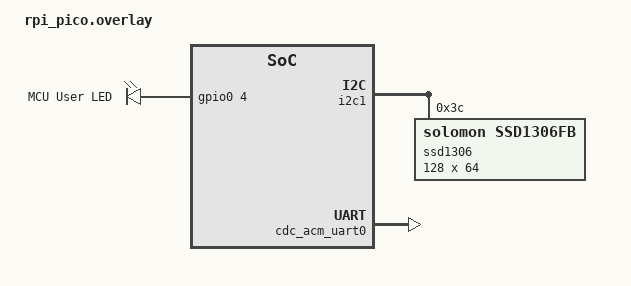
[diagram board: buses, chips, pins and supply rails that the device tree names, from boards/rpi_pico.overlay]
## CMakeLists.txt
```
cmake_minimum_required(VERSION 3.20.0)
find_package(Zephyr REQUIRED HINTS $ENV{ZEPHYR_BASE})
project(shrike_monitor)

target_sources(app PRIVATE
  src/main.c
  src/watchdog.c
  src/sysinfo.c
  src/command.c
  src/logger.c
)
```

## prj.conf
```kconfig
CONFIG_USB_DEVICE_STACK=y
CONFIG_SERIAL=y
CONFIG_CONSOLE=y
CONFIG_UART_CONSOLE=y
CONFIG_UART_LINE_CTRL=y
CONFIG_USB_CDC_ACM=y
CONFIG_USB_DEVICE_PRODUCT="ShrikeOS Monitor"
CONFIG_USB_DEVICE_VID=0x2E8A
CONFIG_USB_DEVICE_PID=0x000A

CONFIG_DISPLAY=y
CONFIG_CHARACTER_FRAMEBUFFER=y
CONFIG_I2C=y

CONFIG_ADC=y

CONFIG_GPIO=y

CONFIG_HEAP_MEM_POOL_SIZE=16384
CONFIG_MAIN_STACK_SIZE=4096

CONFIG_LOG=y
CONFIG_LOG_DEFAULT_LEVEL=3
CONFIG_STDOUT_CONSOLE=y
CONFIG_PRINTK=y
```

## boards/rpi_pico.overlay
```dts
/*
 * ShrikeOS Monitor – Device Tree Overlay for Shrike-lite (rpi_pico base)
 *
 * - LED on GPIO 4 (GPIO for reliable blinking)
 * - SSD1306 OLED on I2C1 (GP6=SDA, GP7=SCL)
 * - USB CDC ACM serial console
 */

/ {
	chosen {
		zephyr,display = &ssd1306;
		zephyr,console = &cdc_acm_uart0;
		zephyr,shell-uart = &cdc_acm_uart0;
	};
};

/* Override the default LED from GPIO 25 to GPIO 4 (Shrike-lite) */
&led0 {
	gpios = <&gpio0 4 GPIO_ACTIVE_HIGH>;
	label = "MCU User LED";
};

&i2c1 {
	status = "okay";

	ssd1306: ssd1306@3c {
		compatible = "solomon,ssd1306fb";
		reg = <0x3c>;
		width = <128>;
		height = <64>;
		segment-offset = <0>;
		page-offset = <0>;
		display-offset = <0>;
		multiplex-ratio = <63>;
		segment-remap;
		com-invdir;
		prechargep = <0x22>;
	};
};

&zephyr_udc0 {
	cdc_acm_uart0: cdc_acm_uart0 {
		compatible = "zephyr,cdc-acm-uart";
	};
};
```

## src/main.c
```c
#include <zephyr/kernel.h>
#include <zephyr/device.h>
#include <zephyr/drivers/gpio.h>
#include <zephyr/drivers/adc.h>
#include <zephyr/display/cfb.h>
#include <zephyr/drivers/uart.h>
#include <zephyr/usb/usb_device.h>
#include <zephyr/sys/util.h>
#include <stdio.h>
#include <string.h>
#include <stdlib.h>


static const struct gpio_dt_spec led = GPIO_DT_SPEC_GET(DT_ALIAS(led0), gpios);

static const struct device *adc_dev;
static const struct adc_channel_cfg temp_ch_cfg = {
	.gain = ADC_GAIN_1,
	.reference = ADC_REF_INTERNAL,
	.acquisition_time = ADC_ACQ_TIME_DEFAULT,
	.channel_id = 4,
};

static const struct device *display_dev;

static const struct device *cdc_dev;


struct monitor_state {
	float temperature;
	uint32_t uptime_secs;
	uint8_t thread_count;
	bool led_on;
	uint16_t blink_ms;
	char custom_msg[32];
};

static struct monitor_state state = {
	.temperature = 0.0f,
	.uptime_secs = 0,
	.thread_count = 4,
	.led_on = true,
	.blink_ms = 250,
	.custom_msg = "",
};

K_MUTEX_DEFINE(state_mutex);


static int16_t adc_buf;
static struct adc_sequence adc_seq = {
	.buffer = &adc_buf,
	.buffer_size = sizeof(adc_buf),
	.resolution = 12,
	.channels = BIT(4),
};

static float read_internal_temp(void)
{
	if (!adc_dev || !device_is_ready(adc_dev)) {
		return -99.0f;
	}

	int ret = adc_read(adc_dev, &adc_seq);
	if (ret < 0) {
		return -99.0f;
	}

	/* RP2040 datasheet temp conversion:
	 * T = 27 - (V_adc - 0.706) / 0.001721
	 * V_adc = raw * 3.3 / 4096
	 */
	float voltage = (float)adc_buf * 3.3f / 4096.0f;
	float temp = 27.0f - (voltage - 0.706f) / 0.001721f;
	return temp;
}

static void init_adc(void)
{
	adc_dev = DEVICE_DT_GET(DT_NODELABEL(adc));
	if (device_is_ready(adc_dev)) {
		adc_channel_setup(adc_dev, &temp_ch_cfg);
		printk("ADC initialized (ch4 = internal temp)\n");
	} else {
		printk("ADC not ready!\n");
	}
}


static void sensor_thread_fn(void *p1, void *p2, void *p3)
{
	ARG_UNUSED(p1); ARG_UNUSED(p2); ARG_UNUSED(p3);

	init_adc();

	while (1) {
		float temp = read_internal_temp();

		k_mutex_lock(&state_mutex, K_FOREVER);
		state.temperature = temp;
		state.uptime_secs = k_uptime_get_32() / 1000;
		k_mutex_unlock(&state_mutex);

		k_msleep(1000);
	}
}

K_THREAD_DEFINE(sensor_tid, 1024, sensor_thread_fn, NULL, NULL, NULL, 5, 0, 0);


static void display_thread_fn(void *p1, void *p2, void *p3)
{
	ARG_UNUSED(p1); ARG_UNUSED(p2); ARG_UNUSED(p3);

	display_dev = DEVICE_DT_GET(DT_CHOSEN(zephyr_display));
	if (!device_is_ready(display_dev)) {
		printk("Display not ready\n");
		return;
	}

	if (display_set_pixel_format(display_dev, PIXEL_FORMAT_MONO10) != 0) {
		display_set_pixel_format(display_dev, PIXEL_FORMAT_MONO01);
	}

	if (cfb_framebuffer_init(display_dev)) {
		printk("CFB init failed\n");
		return;
	}

	cfb_framebuffer_clear(display_dev, true);
	display_blanking_off(display_dev);

	uint8_t font_w, font_h;
	int best_font = 0;
	for (int i = 0; i < 42; i++) {
		if (cfb_get_font_size(display_dev, i, &font_w, &font_h)) {
			break;
		}
		best_font = i;
		if (font_h <= 16) {
			break;
		}
	}
	cfb_framebuffer_set_font(display_dev, best_font);
	cfb_set_kerning(display_dev, 1);

	char line_buf[32];

	while (1) {
		k_mutex_lock(&state_mutex, K_FOREVER);
		bool led_st = state.led_on;
		uint16_t blink = state.blink_ms;
		char msg[32];
		strncpy(msg, state.custom_msg, sizeof(msg) - 1);
		msg[sizeof(msg) - 1] = '\0';
		k_mutex_unlock(&state_mutex);

		cfb_framebuffer_clear(display_dev, false);

		cfb_print(display_dev, "     SHRIKE", 0, 0);

		snprintf(line_buf, sizeof(line_buf), "LED: %s",
			 led_st ? "ON" : "OFF");
		cfb_print(display_dev, line_buf, 0, 16);

		if (msg[0] != '\0') {
			cfb_print(display_dev, msg, 0, 32);
		} else {
			cfb_print(display_dev, "> Ready", 0, 32);
		}

		cfb_framebuffer_finalize(display_dev);
		k_msleep(500);
	}
}

K_THREAD_DEFINE(display_tid, 2048, display_thread_fn, NULL, NULL, NULL, 6, 0, 0);


static void heartbeat_thread_fn(void *p1, void *p2, void *p3)
{
	ARG_UNUSED(p1); ARG_UNUSED(p2); ARG_UNUSED(p3);

	if (!gpio_is_ready_dt(&led)) {
		printk("LED GPIO not ready\n");
		return;
	}

	gpio_pin_configure_dt(&led, GPIO_OUTPUT_ACTIVE);
	printk("LED GPIO configured on pin %d\n", led.pin);

	while (1) {
		uint16_t blink;
		bool on;

		k_mutex_lock(&state_mutex, K_FOREVER);
		blink = state.blink_ms;
		on = state.led_on;
		k_mutex_unlock(&state_mutex);

		if (on) {
			gpio_pin_toggle_dt(&led);
		} else {
			gpio_pin_set_dt(&led, 0);
		}

		k_msleep(blink);
	}
}

K_THREAD_DEFINE(heartbeat_tid, 512, heartbeat_thread_fn, NULL, NULL, NULL, 7, 0, 0);


static void send_telemetry(const struct device *dev)
{
	char buf[128];

	k_mutex_lock(&state_mutex, K_FOREVER);
	int len = snprintf(buf, sizeof(buf),
		"{\"temp\":%.1f,\"up\":%u,\"thds\":%u,\"led\":%u,\"blink\":%u}\n",
		(double)state.temperature,
		state.uptime_secs,
		state.thread_count,
		state.led_on ? 1 : 0,
		state.blink_ms);
	k_mutex_unlock(&state_mutex);

	for (int i = 0; i < len; i++) {
		uart_poll_out(dev, buf[i]);
	}
}

static void parse_command(const char *json)
{
	const char *cmd_pos = strstr(json, "\"cmd\":\"");
	if (!cmd_pos) return;
	cmd_pos += 7;

	const char *val_pos = strstr(json, "\"val\":");
	int val = 0;
	if (val_pos) {
		val_pos += 6;
		val = atoi(val_pos);
	}

	k_mutex_lock(&state_mutex, K_FOREVER);

	if (strncmp(cmd_pos, "led", 3) == 0) {
		state.led_on = (val != 0);
	} else if (strncmp(cmd_pos, "blink", 5) == 0) {
		if (val >= 50 && val <= 2000) {
			state.blink_ms = (uint16_t)val;
		}
	} else if (strncmp(cmd_pos, "oled_msg", 8) == 0) {
		const char *str_val = strstr(json, "\"val\":\"");
		if (str_val) {
			str_val += 7;
			const char *end = strchr(str_val, '"');
			if (end) {
				size_t slen = MIN((size_t)(end - str_val),
						  sizeof(state.custom_msg) - 1);
				memcpy(state.custom_msg, str_val, slen);
				state.custom_msg[slen] = '\0';
			}
		}
	}

	k_mutex_unlock(&state_mutex);
}

static void serial_thread_fn(void *p1, void *p2, void *p3)
{
	ARG_UNUSED(p1); ARG_UNUSED(p2); ARG_UNUSED(p3);

	cdc_dev = DEVICE_DT_GET_ONE(zephyr_cdc_acm_uart);
	if (!device_is_ready(cdc_dev)) {
		printk("CDC ACM not ready\n");
		return;
	}

	int ret = usb_enable(NULL);
	if (ret != 0 && ret != -EALREADY) {
		printk("USB enable failed: %d\n", ret);
		return;
	}

	uint32_t dtr = 0;
	while (!dtr) {
		uart_line_ctrl_get(cdc_dev, UART_LINE_CTRL_DTR, &dtr);
		k_msleep(100);
	}

	k_msleep(500);

	char rx_buf[128];
	int rx_pos = 0;

	while (1) {
		unsigned char c;
		while (uart_poll_in(cdc_dev, &c) == 0) {
			if (c == '\n' || c == '\r') {
				if (rx_pos > 0) {
					rx_buf[rx_pos] = '\0';
					parse_command(rx_buf);
					rx_pos = 0;
				}
			} else if (rx_pos < (int)sizeof(rx_buf) - 1) {
				rx_buf[rx_pos++] = (char)c;
			}
		}

		send_telemetry(cdc_dev);
		k_msleep(500);
	}
}

K_THREAD_DEFINE(serial_tid, 2048, serial_thread_fn, NULL, NULL, NULL, 4, 0, 0);

int main(void)
{
	printk("ShrikeOS Monitor starting...\n");
	printk("Board: Shrike-lite (RP2040 + SLG47910)\n");
	printk("LED: GPIO %d (blink thread)\n", led.pin);
	printk("Threads: sensor, display, heartbeat, serial\n");

	return 0;
}
```

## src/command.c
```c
/*
 * ShrikeOS Monitor — Command Processing Engine
 *
 * Table-driven command parser for any transport (USB-CDC, UART, BLE).
 * Commands are registered at compile time and dispatched by name with
 * argument parsing, validation, and help output.
 *
 * SPDX-License-Identifier: Apache-2.0
 */

#include <zephyr/kernel.h>
#include <zephyr/sys/util.h>
#include <stdio.h>
#include <string.h>
#include <stdlib.h>
#include <ctype.h>

#define CMD_MAX_COMMANDS   24
#define CMD_MAX_ARGS       8
#define CMD_MAX_LINE       128
#define CMD_HISTORY_DEPTH  8

enum cmd_arg_type {
	CMD_ARG_NONE = 0,
	CMD_ARG_INT,
	CMD_ARG_STRING,
	CMD_ARG_BOOL,
};

struct cmd_arg {
	enum cmd_arg_type type;
	union {
		int         ival;
		const char *sval;
		bool        bval;
	};
};

typedef int (*cmd_handler_t)(int argc, struct cmd_arg *argv);

struct cmd_entry {
	const char    *name;
	const char    *help;
	const char    *usage;
	cmd_handler_t  handler;
	uint8_t        min_args;
	uint8_t        max_args;
	bool           hidden;
};

struct cmd_history {
	char lines[CMD_HISTORY_DEPTH][CMD_MAX_LINE];
	int  head;
	int  count;
};

static struct cmd_entry   cmd_table[CMD_MAX_COMMANDS];
static int                cmd_count;
static struct cmd_history cmd_hist;

static struct cmd_stats {
	uint32_t total_commands;
	uint32_t successful;
	uint32_t failed;
	uint32_t unknown;
	uint32_t arg_errors;
} cmd_stats;

K_MUTEX_DEFINE(cmd_mutex);

typedef void (*cmd_output_fn_t)(const char *str);
static cmd_output_fn_t cmd_output = NULL;

static void cmd_print(const char *fmt, ...)
{
	char buf[256];
	va_list ap;
	va_start(ap, fmt);
	vsnprintf(buf, sizeof(buf), fmt, ap);
	va_end(ap);

	if (cmd_output) {
		cmd_output(buf);
	} else {
		printk("%s", buf);
	}
}

/* ---- History ---- */

static void history_add(const char *line)
{
	if (line[0] == '\0') return;

	if (cmd_hist.count > 0) {
		int prev = (cmd_hist.head - 1 + CMD_HISTORY_DEPTH) %
			   CMD_HISTORY_DEPTH;
		if (strcmp(cmd_hist.lines[prev], line) == 0) return;
	}

	strncpy(cmd_hist.lines[cmd_hist.head], line, CMD_MAX_LINE - 1);
	cmd_hist.lines[cmd_hist.head][CMD_MAX_LINE - 1] = '\0';
	cmd_hist.head = (cmd_hist.head + 1) % CMD_HISTORY_DEPTH;
	if (cmd_hist.count < CMD_HISTORY_DEPTH) cmd_hist.count++;
}

void cmd_history_dump(void)
{
	cmd_print("Command history (%d entries):\n", cmd_hist.count);
	int start = (cmd_hist.head - cmd_hist.count + CMD_HISTORY_DEPTH) %
		    CMD_HISTORY_DEPTH;
	for (int i = 0; i < cmd_hist.count; i++) {
		int idx = (start + i) % CMD_HISTORY_DEPTH;
		cmd_print("  [%d] %s\n", i + 1, cmd_hist.lines[idx]);
	}
}

/* ---- Tokeniser ---- */

static int tokenise(char *line, char **tokens, int max_tok)
{
	int count = 0;
	char *p = line;

	while (*p && count < max_tok) {
		while (*p && isspace((unsigned char)*p)) p++;
		if (*p == '\0') break;

		if (*p == '"') {
			p++;
			tokens[count++] = p;
			char *end = strchr(p, '"');
			if (end) { *end = '\0'; p = end + 1; }
			else break;
		} else {
			tokens[count++] = p;
			while (*p && !isspace((unsigned char)*p)) p++;
			if (*p) *p++ = '\0';
		}
	}
	return count;
}

static struct cmd_arg parse_auto(const char *s)
{
	struct cmd_arg arg;

	if (strcmp(s, "true") == 0 || strcmp(s, "on") == 0 ||
	    strcmp(s, "yes") == 0) {
		arg.type = CMD_ARG_BOOL; arg.bval = true; return arg;
	}
	if (strcmp(s, "false") == 0 || strcmp(s, "off") == 0 ||
	    strcmp(s, "no") == 0) {
		arg.type = CMD_ARG_BOOL; arg.bval = false; return arg;
	}

	char *end;
	long lval = strtol(s, &end, 0);
	if (*end == '\0' && end != s) {
		arg.type = CMD_ARG_INT; arg.ival = (int)lval; return arg;
	}

	arg.type = CMD_ARG_STRING; arg.sval = s;
	return arg;
}

/* ---- Registration ---- */

int cmd_register(const char *name, const char *help,
		 const char *usage, cmd_handler_t handler,
		 uint8_t min_args, uint8_t max_args)
{
	k_mutex_lock(&cmd_mutex, K_FOREVER);
	if (cmd_count >= CMD_MAX_COMMANDS) {
		k_mutex_unlock(&cmd_mutex);
		return -1;
	}
	struct cmd_entry *e = &cmd_table[cmd_count++];
	e->name = name; e->help = help; e->usage = usage;
	e->handler = handler;
	e->min_args = min_args; e->max_args = max_args;
	e->hidden = false;
	k_mutex_unlock(&cmd_mutex);
	return 0;
}

void cmd_set_output(cmd_output_fn_t fn) { cmd_output = fn; }

/* ---- Built-in Handlers ---- */

static int cmd_help_handler(int argc, struct cmd_arg *argv)
{
	ARG_UNUSED(argc); ARG_UNUSED(argv);
	cmd_print("\nAvailable commands:\n");
	cmd_print("%-16s %s\n", "Command", "Description");
	cmd_print("---------------- --------------------------------\n");
	for (int i = 0; i < cmd_count; i++) {
		if (cmd_table[i].hidden) continue;
		cmd_print("%-16s %s\n", cmd_table[i].name,
			  cmd_table[i].help ? cmd_table[i].help : "");
	}
	cmd_print("\nType '<command> --help' for usage details.\n\n");
	return 0;
}

static int cmd_status_handler(int argc, struct cmd_arg *argv)
{
	ARG_UNUSED(argc); ARG_UNUSED(argv);
	cmd_print("\n=== Command Engine Status ===\n");
	cmd_print("Registered: %d/%d\n", cmd_count, CMD_MAX_COMMANDS);
	cmd_print("Executed  : %u (ok: %u, fail: %u, unknown: %u)\n",
		  cmd_stats.total_commands, cmd_stats.successful,
		  cmd_stats.failed, cmd_stats.unknown);
	cmd_print("Arg errors: %u\n", cmd_stats.arg_errors);
	cmd_print("History   : %d/%d\n", cmd_hist.count, CMD_HISTORY_DEPTH);
	cmd_print("============================\n\n");
	return 0;
}

static int cmd_history_handler(int argc, struct cmd_arg *argv)
{
	ARG_UNUSED(argc); ARG_UNUSED(argv);
	cmd_history_dump();
	return 0;
}

static int cmd_echo_handler(int argc, struct cmd_arg *argv)
{
	for (int i = 0; i < argc; i++) {
		if (argv[i].type == CMD_ARG_INT)
			cmd_print("%d", argv[i].ival);
		else if (argv[i].type == CMD_ARG_BOOL)
			cmd_print("%s", argv[i].bval ? "true" : "false");
		else
			cmd_print("%s", argv[i].sval);
		if (i < argc - 1) cmd_print(" ");
	}
	cmd_print("\n");
	return 0;
}

static int cmd_uptime_handler(int argc, struct cmd_arg *argv)
{
	ARG_UNUSED(argc); ARG_UNUSED(argv);
	uint32_t ms = k_uptime_get_32();
	uint32_t s = ms / 1000, m = s / 60, h = m / 60;
	cmd_print("Uptime: %02u:%02u:%02u.%03u\n",
		  h, m % 60, s % 60, ms % 1000);
	return 0;
}

static int cmd_version_handler(int argc, struct cmd_arg *argv)
{
	ARG_UNUSED(argc); ARG_UNUSED(argv);
	cmd_print("ShrikeOS Monitor v1.2.0\n");
	cmd_print("Zephyr RTOS %s\n", KERNEL_VERSION_STRING);
	return 0;
}

static void cmd_register_builtins(void)
{
	cmd_register("help",    "Show available commands",
		     "help", cmd_help_handler, 0, 0);
	cmd_register("status",  "Command engine statistics",
		     "status", cmd_status_handler, 0, 0);
	cmd_register("history", "Show command history",
		     "history", cmd_history_handler, 0, 0);
	cmd_register("echo",    "Echo arguments back",
		     "echo <args...>", cmd_echo_handler, 0, CMD_MAX_ARGS);
	cmd_register("uptime",  "Show system uptime",
		     "uptime", cmd_uptime_handler, 0, 0);
	cmd_register("version", "Show firmware version",
		     "version", cmd_version_handler, 0, 0);
}

/* ---- Dispatch ---- */

static const struct cmd_entry *cmd_find(const char *name)
{
	for (int i = 0; i < cmd_count; i++) {
		const char *a = cmd_table[i].name;
		const char *b = name;
		bool match = true;
		while (*a && *b) {
			if (tolower((unsigned char)*a) !=
			    tolower((unsigned char)*b)) {
				match = false; break;
			}
			a++; b++;
		}
		if (match && *a == '\0' && *b == '\0')
			return &cmd_table[i];
	}
	return NULL;
}

int cmd_execute(char *line)
{
	if (!line || line[0] == '\0') return 0;

	while (*line && isspace((unsigned char)*line)) line++;
	size_t len = strlen(line);
	while (len > 0 && isspace((unsigned char)line[len - 1]))
		line[--len] = '\0';
	if (len == 0) return 0;

	history_add(line);

	char *tokens[CMD_MAX_ARGS + 1];
	int ntok = tokenise(line, tokens, CMD_MAX_ARGS + 1);
	if (ntok == 0) return 0;

	cmd_stats.total_commands++;

	const struct cmd_entry *entry = cmd_find(tokens[0]);
	if (!entry) {
		cmd_print("Unknown command: '%s'. Type 'help'.\n", tokens[0]);
		cmd_stats.unknown++;
		return -1;
	}

	if (ntok > 1 && strcmp(tokens[1], "--help") == 0) {
		cmd_print("Usage: %s\n", entry->usage ? entry->usage : "N/A");
		if (entry->help) cmd_print("  %s\n", entry->help);
		return 0;
	}

	int argc = ntok - 1;
	if (argc < entry->min_args) {
		cmd_print("Too few args for '%s' (min %u, got %d)\n",
			  entry->name, entry->min_args, argc);
		cmd_stats.arg_errors++;
		return -1;
	}
	if (argc > entry->max_args) {
		cmd_print("Too many args for '%s' (max %u, got %d)\n",
			  entry->name, entry->max_args, argc);
		cmd_stats.arg_errors++;
		return -1;
	}

	struct cmd_arg args[CMD_MAX_ARGS];
	for (int i = 0; i < argc; i++)
		args[i] = parse_auto(tokens[i + 1]);

	int ret = entry->handler(argc, args);
	if (ret == 0) cmd_stats.successful++;
	else { cmd_stats.failed++; }

	return ret;
}

void cmd_get_stats(uint32_t *total, uint32_t *ok, uint32_t *fail,
		   uint32_t *unknown)
{
	k_mutex_lock(&cmd_mutex, K_FOREVER);
	if (total)   *total   = cmd_stats.total_commands;
	if (ok)      *ok      = cmd_stats.successful;
	if (fail)    *fail    = cmd_stats.failed;
	if (unknown) *unknown = cmd_stats.unknown;
	k_mutex_unlock(&cmd_mutex);
}

void cmd_init(void)
{
	memset(&cmd_stats, 0, sizeof(cmd_stats));
	memset(&cmd_hist, 0, sizeof(cmd_hist));
	cmd_count = 0;
	cmd_register_builtins();
	printk("[CMD] Command engine initialised (%d built-ins)\n", cmd_count);
}
```

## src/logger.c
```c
/*
 * ShrikeOS Monitor — Ring-Buffer Logging Subsystem
 *
 * In-memory circular log buffer with timestamps, level filtering,
 * and query support. Logs can be retrieved from the dashboard.
 *
 * SPDX-License-Identifier: Apache-2.0
 */

#include <zephyr/kernel.h>
#include <zephyr/sys/util.h>
#include <stdio.h>
#include <string.h>

/* --------------------------------------------------------------------
 * Configuration
 * ------------------------------------------------------------------ */

#define LOG_BUF_ENTRIES    64
#define LOG_MSG_MAX_LEN    80
#define LOG_MODULE_MAX_LEN 16

/* Log levels */
enum log_level {
	LOG_LVL_DEBUG = 0,
	LOG_LVL_INFO,
	LOG_LVL_WARN,
	LOG_LVL_ERROR,
	LOG_LVL_COUNT,
};

static const char *const log_level_names[] = {
	[LOG_LVL_DEBUG] = "DEBUG",
	[LOG_LVL_INFO]  = "INFO",
	[LOG_LVL_WARN]  = "WARN",
	[LOG_LVL_ERROR] = "ERROR",
};

static const char *const log_level_tags[] = {
	[LOG_LVL_DEBUG] = "[D]",
	[LOG_LVL_INFO]  = "[I]",
	[LOG_LVL_WARN]  = "[W]",
	[LOG_LVL_ERROR] = "[E]",
};

/* Single log entry */
struct log_entry {
	uint32_t       timestamp_ms;
	enum log_level level;
	char           module[LOG_MODULE_MAX_LEN];
	char           message[LOG_MSG_MAX_LEN];
	uint32_t       sequence;
};

/* Circular buffer */
struct log_buffer {
	struct log_entry entries[LOG_BUF_ENTRIES];
	int              head;
	int              count;
	uint32_t         next_seq;
};

/* Statistics */
struct log_stats {
	uint32_t total_messages;
	uint32_t dropped_messages;
	uint32_t per_level[LOG_LVL_COUNT];
	uint32_t queries_performed;
};

/* ------------------------------------------------------------------ */

static struct log_buffer  log_buf;
static struct log_stats   log_st;
static enum log_level     log_min_level = LOG_LVL_DEBUG;

K_MUTEX_DEFINE(log_mutex);

/* --------------------------------------------------------------------
 * Core API
 * ------------------------------------------------------------------ */

/**
 * shrike_log — Write a message to the log buffer.
 *
 * @param level   Severity level.
 * @param module  Module name (e.g. "WDG", "SYS").
 * @param fmt     printf-style format string.
 */
void shrike_log(enum log_level level, const char *module,
		const char *fmt, ...)
{
	if (level < log_min_level) {
		return;
	}

	k_mutex_lock(&log_mutex, K_FOREVER);

	struct log_entry *e = &log_buf.entries[log_buf.head];

	e->timestamp_ms = k_uptime_get_32();
	e->level        = level;
	e->sequence     = log_buf.next_seq++;

	if (module) {
		strncpy(e->module, module, LOG_MODULE_MAX_LEN - 1);
		e->module[LOG_MODULE_MAX_LEN - 1] = '\0';
	} else {
		e->module[0] = '\0';
	}

	va_list ap;
	va_start(ap, fmt);
	vsnprintf(e->message, LOG_MSG_MAX_LEN, fmt, ap);
	va_end(ap);

	log_buf.head = (log_buf.head + 1) % LOG_BUF_ENTRIES;
	if (log_buf.count < LOG_BUF_ENTRIES) {
		log_buf.count++;
	} else {
		log_st.dropped_messages++;
	}

	log_st.total_messages++;
	if (level < LOG_LVL_COUNT) {
		log_st.per_level[level]++;
	}

	k_mutex_unlock(&log_mutex);
}

/* Convenience macros */
#define SHRIKE_LOG_D(mod, ...) shrike_log(LOG_LVL_DEBUG, mod, __VA_ARGS__)
#define SHRIKE_LOG_I(mod, ...) shrike_log(LOG_LVL_INFO,  mod, __VA_ARGS__)
#define SHRIKE_LOG_W(mod, ...) shrike_log(LOG_LVL_WARN,  mod, __VA_ARGS__)
#define SHRIKE_LOG_E(mod, ...) shrike_log(LOG_LVL_ERROR, mod, __VA_ARGS__)

/**
 * shrike_log_set_level — Set the minimum log level filter.
 */
void shrike_log_set_level(enum log_level min)
{
	k_mutex_lock(&log_mutex, K_FOREVER);
	if (min < LOG_LVL_COUNT) {
		log_min_level = min;
	}
	k_mutex_unlock(&log_mutex);
}

/**
 * shrike_log_get_level — Get the current minimum log level.
 */
enum log_level shrike_log_get_level(void)
{
	enum log_level lvl;
	k_mutex_lock(&log_mutex, K_FOREVER);
	lvl = log_min_level;
	k_mutex_unlock(&log_mutex);
	return lvl;
}

/**
 * shrike_log_clear — Discard all buffered log entries.
 */
void shrike_log_clear(void)
{
	k_mutex_lock(&log_mutex, K_FOREVER);
	log_buf.head  = 0;
	log_buf.count = 0;
	k_mutex_unlock(&log_mutex);
}

/* --------------------------------------------------------------------
 * Query API
 * ------------------------------------------------------------------ */

/**
 * shrike_log_dump — Print all buffered entries to the console.
 *
 * @param min_level  Only show entries at or above this level.
 */
void shrike_log_dump(enum log_level min_level)
{
	k_mutex_lock(&log_mutex, K_FOREVER);

	log_st.queries_performed++;

	int start = (log_buf.head - log_buf.count + LOG_BUF_ENTRIES) %
		    LOG_BUF_ENTRIES;

	printk("\n=== Log Buffer (%d / %d entries, filter >= %s) ===\n",
	       log_buf.count, LOG_BUF_ENTRIES,
	       log_level_names[min_level]);

	int shown = 0;
	for (int i = 0; i < log_buf.count; i++) {
		int idx = (start + i) % LOG_BUF_ENTRIES;
		const struct log_entry *e = &log_buf.entries[idx];

		if (e->level < min_level) {
			continue;
		}

		uint32_t s  = e->timestamp_ms / 1000;
		uint32_t ms = e->timestamp_ms % 1000;

		printk("[%5u.%03u] %s %-8s %s\n",
		       s, ms,
		       log_level_tags[e->level],
		       e->module,
		       e->message);
		shown++;
	}

	printk("=== Shown %d entries ===\n\n", shown);

	k_mutex_unlock(&log_mutex);
}

/**
 * shrike_log_dump_last — Print the N most recent log entries.
 *
 * @param count  Maximum number of entries to show.
 */
void shrike_log_dump_last(int count)
{
	k_mutex_lock(&log_mutex, K_FOREVER);

	log_st.queries_performed++;

	int to_show = (count < log_buf.count) ? count : log_buf.count;
	int start_offset = log_buf.count - to_show;
	int start = (log_buf.head - log_buf.count + LOG_BUF_ENTRIES) %
		    LOG_BUF_ENTRIES;

	printk("\n=== Last %d Log Entries ===\n", to_show);

	for (int i = start_offset; i < log_buf.count; i++) {
		int idx = (start + i) % LOG_BUF_ENTRIES;
		const struct log_entry *e = &log_buf.entries[idx];

		uint32_t s  = e->timestamp_ms / 1000;
		uint32_t ms = e->timestamp_ms % 1000;

		printk("[%5u.%03u] %s %-8s %s\n",
		       s, ms,
		       log_level_tags[e->level],
		       e->module,
		       e->message);
	}

	printk("==========================\n\n");

	k_mutex_unlock(&log_mutex);
}

/**
 * shrike_log_search — Search log entries containing a keyword.
 *
 * @param keyword  Substring to search for (case-sensitive).
 * @param max_results  Maximum matches to print.
 * @return         Number of matches found.
 */
int shrike_log_search(const char *keyword, int max_results)
{
	int found = 0;

	k_mutex_lock(&log_mutex, K_FOREVER);

	log_st.queries_performed++;

	int start = (log_buf.head - log_buf.count + LOG_BUF_ENTRIES) %
		    LOG_BUF_ENTRIES;

	printk("\n=== Log Search: \"%s\" ===\n", keyword);

	for (int i = 0; i < log_buf.count && found < max_results; i++) {
		int idx = (start + i) % LOG_BUF_ENTRIES;
		const struct log_entry *e = &log_buf.entries[idx];

		if (strstr(e->message, keyword) != NULL ||
		    strstr(e->module, keyword) != NULL) {

			uint32_t s  = e->timestamp_ms / 1000;
			uint32_t ms = e->timestamp_ms % 1000;

			printk("[%5u.%03u] %s %-8s %s\n",
			       s, ms,
			       log_level_tags[e->level],
			       e->module,
			       e->message);
			found++;
		}
	}

	printk("=== Found %d matches ===\n\n", found);

	k_mutex_unlock(&log_mutex);
	return found;
}

/**
 * shrike_log_count_by_level — Count entries at a given level.
 */
int shrike_log_count_by_level(enum log_level level)
{
	int count = 0;

	k_mutex_lock(&log_mutex, K_FOREVER);

	int start = (log_buf.head - log_buf.count + LOG_BUF_ENTRIES) %
		    LOG_BUF_ENTRIES;

	for (int i = 0; i < log_buf.count; i++) {
		int idx = (start + i) % LOG_BUF_ENTRIES;
		if (log_buf.entries[idx].level == level) {
			count++;
		}
	}

	k_mutex_unlock(&log_mutex);
	return count;
}

/* --------------------------------------------------------------------
 * Statistics
 * ------------------------------------------------------------------ */

/**
 * shrike_log_dump_stats — Print logging statistics.
 */
void shrike_log_dump_stats(void)
{
	k_mutex_lock(&log_mutex, K_FOREVER);

	printk("\n=== Logging Statistics ===\n");
	printk("Buffer   : %d / %d entries\n",
	       log_buf.count, LOG_BUF_ENTRIES);
	printk("Total    : %u messages\n", log_st.total_messages);
	printk("Dropped  : %u (buffer full)\n", log_st.dropped_messages);
	printk("Queries  : %u\n", log_st.queries_performed);
	printk("Per level:\n");
	for (int i = 0; i < LOG_LVL_COUNT; i++) {
		printk("  %-6s : %u\n",
		       log_level_names[i], log_st.per_level[i]);
	}
	printk("Filter   : >= %s\n", log_level_names[log_min_level]);
	printk("=========================\n\n");

	k_mutex_unlock(&log_mutex);
}

/**
 * shrike_log_format_json — Serialise recent entries as JSON.
 *
 * @param buf      Output buffer.
 * @param buf_len  Size of output buffer.
 * @param count    Maximum number of recent entries to include.
 * @return         Bytes written (excluding NUL).
 */
int shrike_log_format_json(char *buf, size_t buf_len, int count)
{
	int written = 0;

	k_mutex_lock(&log_mutex, K_FOREVER);

	int to_show = (count < log_buf.count) ? count : log_buf.count;
	int start_offset = log_buf.count - to_show;
	int start = (log_buf.head - log_buf.count + LOG_BUF_ENTRIES) %
		    LOG_BUF_ENTRIES;

	written += snprintf(buf + written, buf_len - written,
			    "{\"log_count\":%d,\"total\":%u,"
			    "\"dropped\":%u,\"entries\":[",
			    log_buf.count,
			    log_st.total_messages,
			    log_st.dropped_messages);

	for (int i = start_offset; i < log_buf.count; i++) {
		int idx = (start + i) % LOG_BUF_ENTRIES;
		const struct log_entry *e = &log_buf.entries[idx];

		if (written >= (int)buf_len - 2) break;

		if (i > start_offset) {
			written += snprintf(buf + written,
					    buf_len - written, ",");
		}

		written += snprintf(buf + written, buf_len - written,
			"{\"t\":%u,\"l\":\"%s\",\"m\":\"%s\","
			"\"msg\":\"%s\",\"seq\":%u}",
			e->timestamp_ms,
			log_level_names[e->level],
			e->module,
			e->message,
			e->sequence);
	}

	written += snprintf(buf + written, buf_len - written, "]}");

	k_mutex_unlock(&log_mutex);
	return written;
}

/* ------------------------------------------------------------------ */

/**
 * shrike_log_init — Initialise the logging subsystem.
 */
void shrike_log_init(void)
{
	memset(&log_buf, 0, sizeof(log_buf));
	memset(&log_st, 0, sizeof(log_st));
	log_min_level = LOG_LVL_DEBUG;

	SHRIKE_LOG_I("LOG", "Logging subsystem initialised "
		     "(%d entry buffer)", LOG_BUF_ENTRIES);

	printk("[LOG] Ring-buffer logger ready "
	       "(%d slots, filter >= %s)\n",
	       LOG_BUF_ENTRIES, log_level_names[log_min_level]);
}
```

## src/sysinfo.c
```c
/*
 * ShrikeOS Monitor — System Information & Diagnostics Module
 *
 * Gathers comprehensive system-level metrics for the ShrikeOS monitor
 * dashboard including memory statistics, thread enumeration, CPU load
 * estimation, and build/version information.
 *
 * SPDX-License-Identifier: Apache-2.0
 */

#include <zephyr/kernel.h>
#include <zephyr/sys/util.h>
#include <zephyr/version.h>
#include <stdio.h>
#include <string.h>

/* --------------------------------------------------------------------
 * Configuration
 * ------------------------------------------------------------------ */

#define SYSINFO_MAX_THREADS       16
#define SYSINFO_UPDATE_INTERVAL   2000   /* ms between metric refreshes   */
#define SYSINFO_STACK_SIZE        1536
#define SYSINFO_PRIORITY          9

/* Build metadata embedded at compile time */
#define SHRIKE_FW_VERSION_MAJOR   1
#define SHRIKE_FW_VERSION_MINOR   2
#define SHRIKE_FW_VERSION_PATCH   0
#define SHRIKE_BOARD_NAME         "Shrike-lite (RP2040 + SLG47910)"

/* --------------------------------------------------------------------
 * Data Structures
 * ------------------------------------------------------------------ */

/* Per-thread diagnostic snapshot */
struct sysinfo_thread {
	char     name[20];
	uint32_t stack_size;
	uint32_t stack_used;
	uint8_t  priority;
	uint8_t  state;          /* 0 = ready, 1 = running, 2 = waiting */
	bool     valid;
};

/* Aggregate system metrics */
struct sysinfo_snapshot {
	/* Timing */
	uint32_t uptime_secs;
	uint32_t uptime_ms;

	/* Memory */
	uint32_t heap_total;
	uint32_t heap_used;
	uint32_t heap_free;
	uint32_t heap_max_used;

	/* Threads */
	uint8_t  thread_count;
	struct sysinfo_thread threads[SYSINFO_MAX_THREADS];

	/* CPU estimate (simple busy/idle ratio) */
	uint8_t  cpu_load_pct;

	/* Boot counter (persisted in RAM across soft resets if supported) */
	uint32_t boot_count;

	/* Firmware version */
	uint8_t  fw_major;
	uint8_t  fw_minor;
	uint8_t  fw_patch;
};

/* The latest snapshot (protected by mutex) */
static struct sysinfo_snapshot snapshot;
K_MUTEX_DEFINE(sysinfo_mutex);

/* Idle-time tracking for CPU load estimate */
static volatile uint64_t idle_ticks_prev;
static volatile uint64_t total_ticks_prev;
static uint32_t boot_counter;

/* --------------------------------------------------------------------
 * Internal Helpers
 * ------------------------------------------------------------------ */

/**
 * Estimate heap utilisation.
 *
 * Zephyr's k_heap_* APIs are only available when a system heap is
 * configured.  On builds without CONFIG_HEAP_MEM_POOL_SIZE we fall
 * back to compiled-in constants so the rest of the code compiles
 * unconditionally.
 */
static void sysinfo_update_heap(struct sysinfo_snapshot *s)
{
#ifdef CONFIG_HEAP_MEM_POOL_SIZE
	struct sys_memory_stats stats;
	sys_heap_runtime_stats_get(&_system_heap.heap, &stats);
	s->heap_total    = (uint32_t)stats.free_bytes +
			   (uint32_t)stats.allocated_bytes;
	s->heap_used     = (uint32_t)stats.allocated_bytes;
	s->heap_free     = (uint32_t)stats.free_bytes;
	s->heap_max_used = (uint32_t)stats.max_allocated_bytes;
#else
	s->heap_total    = 0;
	s->heap_used     = 0;
	s->heap_free     = 0;
	s->heap_max_used = 0;
#endif
}

/**
 * Walk the Zephyr thread list and populate per-thread info.
 *
 * We use k_thread_foreach_unlocked() which does NOT hold the scheduler
 * lock — fine for a diagnostic snapshot.
 */
struct thread_walk_ctx {
	struct sysinfo_snapshot *snap;
	int                     idx;
};

static void thread_info_cb(const struct k_thread *thread, void *user_data)
{
	struct thread_walk_ctx *ctx = user_data;

	if (ctx->idx >= SYSINFO_MAX_THREADS) {
		return;
	}

	struct sysinfo_thread *t = &ctx->snap->threads[ctx->idx];
	t->valid = true;

	/* Thread name (may be NULL if not configured) */
	const char *tname = k_thread_name_get((k_tid_t)thread);
	if (tname && tname[0] != '\0') {
		strncpy(t->name, tname, sizeof(t->name) - 1);
		t->name[sizeof(t->name) - 1] = '\0';
	} else {
		snprintf(t->name, sizeof(t->name), "thread_%d", ctx->idx);
	}

	/* Stack analysis */
#ifdef CONFIG_THREAD_STACK_INFO
	t->stack_size = thread->stack_info.size;
#else
	t->stack_size = 0;
#endif

#ifdef CONFIG_INIT_STACKS
	size_t unused = 0;
	if (k_thread_stack_space_get(thread, &unused) == 0) {
		t->stack_used = t->stack_size - (uint32_t)unused;
	} else {
		t->stack_used = 0;
	}
#else
	t->stack_used = 0;
#endif

	t->priority = (uint8_t)k_thread_priority_get((k_tid_t)thread);

	/* Coarse state mapping */
	if (k_is_in_isr()) {
		t->state = 1;  /* approximate */
	} else {
		t->state = 0;
	}

	ctx->idx++;
}

static void sysinfo_update_threads(struct sysinfo_snapshot *s)
{
	/* Reset thread slots */
	for (int i = 0; i < SYSINFO_MAX_THREADS; i++) {
		s->threads[i].valid = false;
	}

	struct thread_walk_ctx ctx = { .snap = s, .idx = 0 };
	k_thread_foreach_unlocked(thread_info_cb, &ctx);
	s->thread_count = (uint8_t)ctx.idx;
}

/**
 * Very rough CPU-load estimator.
 *
 * Uses the Zephyr idle thread's cycle count (if runtime stats are
 * enabled) to compute an approximate load percentage.  When the stats
 * are unavailable we report 0.
 */
static void sysinfo_update_cpu(struct sysinfo_snapshot *s)
{
#ifdef CONFIG_THREAD_RUNTIME_STATS
	k_thread_runtime_stats_t rt_stats;
	int ret = k_thread_runtime_stats_all_get(&rt_stats);
	if (ret == 0 && rt_stats.total_cycles > 0) {
		uint64_t total = rt_stats.total_cycles;

		/* idle cycles are part of total; approximate */
		uint64_t busy = total;  /* placeholder */
		k_thread_runtime_stats_t idle_stats;
		k_tid_t idle = k_thread_find(NULL);  /* heuristic */
		if (idle && k_thread_runtime_stats_get(idle,
						       &idle_stats) == 0) {
			busy = total - idle_stats.total_cycles;
		}

		if (total > total_ticks_prev) {
			uint64_t dt = total - total_ticks_prev;
			uint64_t db = busy - idle_ticks_prev;
			s->cpu_load_pct = (uint8_t)((db * 100) / dt);
		}

		total_ticks_prev = total;
		idle_ticks_prev  = busy;
	} else {
		s->cpu_load_pct = 0;
	}
#else
	s->cpu_load_pct = 0;
#endif
}

/* --------------------------------------------------------------------
 * Public API
 * ------------------------------------------------------------------ */

/**
 * sysinfo_get — Copy the latest snapshot into the caller's buffer.
 *
 * @param out  Destination buffer (must not be NULL).
 */
void sysinfo_get(struct sysinfo_snapshot *out)
{
	k_mutex_lock(&sysinfo_mutex, K_FOREVER);
	memcpy(out, &snapshot, sizeof(snapshot));
	k_mutex_unlock(&sysinfo_mutex);
}

/**
 * sysinfo_get_uptime_secs — Quick accessor for uptime.
 */
uint32_t sysinfo_get_uptime_secs(void)
{
	uint32_t up;

	k_mutex_lock(&sysinfo_mutex, K_FOREVER);
	up = snapshot.uptime_secs;
	k_mutex_unlock(&sysinfo_mutex);

	return up;
}

/**
 * sysinfo_get_thread_count — Return the number of active threads.
 */
uint8_t sysinfo_get_thread_count(void)
{
	uint8_t n;

	k_mutex_lock(&sysinfo_mutex, K_FOREVER);
	n = snapshot.thread_count;
	k_mutex_unlock(&sysinfo_mutex);

	return n;
}

/**
 * sysinfo_get_cpu_load — Return estimated CPU usage (0–100).
 */
uint8_t sysinfo_get_cpu_load(void)
{
	uint8_t load;

	k_mutex_lock(&sysinfo_mutex, K_FOREVER);
	load = snapshot.cpu_load_pct;
	k_mutex_unlock(&sysinfo_mutex);

	return load;
}

/**
 * sysinfo_get_fw_version — Write the firmware version string into buf.
 *
 * @param buf      Output buffer.
 * @param buf_len  Size of buf in bytes.
 * @return         Number of characters written (excluding NUL).
 */
int sysinfo_get_fw_version(char *buf, size_t buf_len)
{
	return snprintf(buf, buf_len, "%u.%u.%u",
			SHRIKE_FW_VERSION_MAJOR,
			SHRIKE_FW_VERSION_MINOR,
			SHRIKE_FW_VERSION_PATCH);
}

/**
 * sysinfo_get_board_name — Return a pointer to the static board name.
 */
const char *sysinfo_get_board_name(void)
{
	return SHRIKE_BOARD_NAME;
}

/**
 * sysinfo_dump — Print a comprehensive system report to the console.
 */
void sysinfo_dump(void)
{
	k_mutex_lock(&sysinfo_mutex, K_FOREVER);

	printk("\n=== ShrikeOS System Info ===\n");
	printk("Board     : %s\n", SHRIKE_BOARD_NAME);
	printk("Firmware  : %u.%u.%u\n",
	       SHRIKE_FW_VERSION_MAJOR,
	       SHRIKE_FW_VERSION_MINOR,
	       SHRIKE_FW_VERSION_PATCH);
	printk("Zephyr    : %s\n", KERNEL_VERSION_STRING);
	printk("Uptime    : %u s (%u ms)\n",
	       snapshot.uptime_secs, snapshot.uptime_ms);
	printk("Boot #    : %u\n", snapshot.boot_count);
	printk("CPU load  : ~%u%%\n", snapshot.cpu_load_pct);
	printk("Heap total: %u B | used: %u B | free: %u B | peak: %u B\n",
	       snapshot.heap_total, snapshot.heap_used,
	       snapshot.heap_free, snapshot.heap_max_used);

	printk("Threads   : %u\n", snapshot.thread_count);
	printk("%-4s %-18s %-6s %-10s %-10s\n",
	       "#", "Name", "Prio", "Stack", "Used");
	printk("---- ------------------ ------ ---------- ----------\n");

	for (int i = 0; i < snapshot.thread_count; i++) {
		const struct sysinfo_thread *t = &snapshot.threads[i];
		if (!t->valid) {
			continue;
		}
		printk("%-4d %-18s %-6u %-10u %-10u\n",
		       i, t->name, t->priority,
		       t->stack_size, t->stack_used);
	}

	printk("===========================\n\n");

	k_mutex_unlock(&sysinfo_mutex);
}

/**
 * sysinfo_format_json — Serialise the current snapshot as a JSON string.
 *
 * @param buf      Destination buffer.
 * @param buf_len  Size of the destination buffer.
 * @return         Number of characters written (excluding NUL), or
 *                 negative on error.
 */
int sysinfo_format_json(char *buf, size_t buf_len)
{
	int written;

	k_mutex_lock(&sysinfo_mutex, K_FOREVER);

	written = snprintf(buf, buf_len,
		"{\"board\":\"%s\","
		"\"fw\":\"%u.%u.%u\","
		"\"up\":%u,"
		"\"cpu\":%u,"
		"\"heap_total\":%u,"
		"\"heap_used\":%u,"
		"\"heap_free\":%u,"
		"\"threads\":%u,"
		"\"boots\":%u}",
		SHRIKE_BOARD_NAME,
		SHRIKE_FW_VERSION_MAJOR,
		SHRIKE_FW_VERSION_MINOR,
		SHRIKE_FW_VERSION_PATCH,
		snapshot.uptime_secs,
		snapshot.cpu_load_pct,
		snapshot.heap_total,
		snapshot.heap_used,
		snapshot.heap_free,
		snapshot.thread_count,
		snapshot.boot_count);

	k_mutex_unlock(&sysinfo_mutex);
	return written;
}

/* --------------------------------------------------------------------
 * Background refresh thread
 * ------------------------------------------------------------------ */

static void sysinfo_thread_fn(void *p1, void *p2, void *p3)
{
	ARG_UNUSED(p1);
	ARG_UNUSED(p2);
	ARG_UNUSED(p3);

	boot_counter++;

	printk("[SYSINFO] Diagnostics thread started "
	       "(interval %d ms, boot #%u)\n",
	       SYSINFO_UPDATE_INTERVAL, boot_counter);

	while (1) {
		k_mutex_lock(&sysinfo_mutex, K_FOREVER);

		snapshot.uptime_ms   = k_uptime_get_32();
		snapshot.uptime_secs = snapshot.uptime_ms / 1000;
		snapshot.boot_count  = boot_counter;
		snapshot.fw_major    = SHRIKE_FW_VERSION_MAJOR;
		snapshot.fw_minor    = SHRIKE_FW_VERSION_MINOR;
		snapshot.fw_patch    = SHRIKE_FW_VERSION_PATCH;

		sysinfo_update_heap(&snapshot);
		sysinfo_update_threads(&snapshot);
		sysinfo_update_cpu(&snapshot);

		k_mutex_unlock(&sysinfo_mutex);

		k_msleep(SYSINFO_UPDATE_INTERVAL);
	}
}

K_THREAD_DEFINE(sysinfo_tid, SYSINFO_STACK_SIZE,
		sysinfo_thread_fn, NULL, NULL, NULL,
		SYSINFO_PRIORITY, 0, 0);
```

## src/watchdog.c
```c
/*
 * ShrikeOS Monitor — Software Watchdog Manager
 *
 * Monitors thread health by tracking periodic heartbeats from each
 * registered thread. If a thread fails to report within its configured
 * timeout, the watchdog flags it as unresponsive and invokes the
 * registered recovery callback.
 *
 * SPDX-License-Identifier: Apache-2.0
 */

#include <zephyr/kernel.h>
#include <zephyr/sys/util.h>
#include <stdio.h>
#include <string.h>

/* --------------------------------------------------------------------
 * Configuration
 * ------------------------------------------------------------------ */

#define WDG_MAX_THREADS        8
#define WDG_CHECK_INTERVAL_MS  1000
#define WDG_STACK_SIZE         1024
#define WDG_PRIORITY           8

/* Thread health states reported by the watchdog */
enum wdg_thread_state {
	WDG_STATE_IDLE = 0,    /* Registered, not yet started        */
	WDG_STATE_HEALTHY,     /* Heartbeat received within timeout   */
	WDG_STATE_WARNING,     /* Approaching timeout (>75% elapsed)  */
	WDG_STATE_UNRESPONSIVE,/* Timed out — recovery pending        */
	WDG_STATE_RECOVERED,   /* Recovery callback executed           */
};

/* Human-readable names for each state (used by status dump) */
static const char *const wdg_state_names[] = {
	[WDG_STATE_IDLE]         = "IDLE",
	[WDG_STATE_HEALTHY]      = "HEALTHY",
	[WDG_STATE_WARNING]      = "WARNING",
	[WDG_STATE_UNRESPONSIVE] = "UNRESPONSIVE",
	[WDG_STATE_RECOVERED]    = "RECOVERED",
};

/* Callback invoked when a thread becomes unresponsive.
 * The callback receives the thread name and the elapsed time in ms
 * since the last heartbeat was received.
 */
typedef void (*wdg_recovery_cb_t)(const char *thread_name,
				  uint32_t elapsed_ms);

/* Internal bookkeeping for a single monitored thread */
struct wdg_entry {
	bool          active;
	char          name[24];
	uint32_t      timeout_ms;
	int64_t       last_heartbeat;
	enum wdg_thread_state state;
	wdg_recovery_cb_t     recovery_cb;
	uint32_t      heartbeat_count;
	uint32_t      timeout_count;
	uint32_t      recovery_count;
};

/* Registry of all monitored threads */
static struct wdg_entry wdg_table[WDG_MAX_THREADS];
static int              wdg_count;

/* Mutex protecting the watchdog table */
K_MUTEX_DEFINE(wdg_mutex);

/* Global enable flag — allows the watchdog to be suspended */
static bool wdg_enabled = true;

/* Aggregate statistics */
static struct wdg_stats {
	uint32_t total_heartbeats;
	uint32_t total_timeouts;
	uint32_t total_recoveries;
	uint32_t checks_performed;
} wdg_stats;

/* --------------------------------------------------------------------
 * Public API
 * ------------------------------------------------------------------ */

/**
 * wdg_register — Register a thread for watchdog monitoring.
 *
 * @param name        Human-readable thread name (max 23 chars).
 * @param timeout_ms  Maximum allowed time between heartbeats.
 * @param cb          Optional recovery callback (may be NULL).
 * @return            Slot index (≥ 0) on success, -1 if table full.
 */
int wdg_register(const char *name, uint32_t timeout_ms,
		 wdg_recovery_cb_t cb)
{
	int slot = -1;

	k_mutex_lock(&wdg_mutex, K_FOREVER);

	if (wdg_count >= WDG_MAX_THREADS) {
		printk("[WDG] Table full, cannot register '%s'\n", name);
		k_mutex_unlock(&wdg_mutex);
		return -1;
	}

	slot = wdg_count++;
	struct wdg_entry *e = &wdg_table[slot];

	memset(e, 0, sizeof(*e));
	e->active = true;
	strncpy(e->name, name, sizeof(e->name) - 1);
	e->name[sizeof(e->name) - 1] = '\0';
	e->timeout_ms      = timeout_ms;
	e->last_heartbeat   = k_uptime_get();
	e->state            = WDG_STATE_IDLE;
	e->recovery_cb      = cb;
	e->heartbeat_count  = 0;
	e->timeout_count    = 0;
	e->recovery_count   = 0;

	printk("[WDG] Registered '%s' (slot %d, timeout %u ms)\n",
	       name, slot, timeout_ms);

	k_mutex_unlock(&wdg_mutex);
	return slot;
}

/**
 * wdg_heartbeat — Signal that a thread is still alive.
 *
 * @param slot  Slot index returned by wdg_register().
 */
void wdg_heartbeat(int slot)
{
	if (slot < 0 || slot >= WDG_MAX_THREADS) {
		return;
	}

	k_mutex_lock(&wdg_mutex, K_FOREVER);

	struct wdg_entry *e = &wdg_table[slot];
	if (e->active) {
		e->last_heartbeat  = k_uptime_get();
		e->state           = WDG_STATE_HEALTHY;
		e->heartbeat_count++;
		wdg_stats.total_heartbeats++;
	}

	k_mutex_unlock(&wdg_mutex);
}

/**
 * wdg_unregister — Remove a thread from monitoring.
 *
 * @param slot  Slot index returned by wdg_register().
 */
void wdg_unregister(int slot)
{
	if (slot < 0 || slot >= WDG_MAX_THREADS) {
		return;
	}

	k_mutex_lock(&wdg_mutex, K_FOREVER);

	struct wdg_entry *e = &wdg_table[slot];
	if (e->active) {
		printk("[WDG] Unregistered '%s' (slot %d)\n", e->name, slot);
		e->active = false;
	}

	k_mutex_unlock(&wdg_mutex);
}

/**
 * wdg_enable — Enable or disable the watchdog globally.
 */
void wdg_enable(bool enable)
{
	k_mutex_lock(&wdg_mutex, K_FOREVER);
	wdg_enabled = enable;
	printk("[WDG] Watchdog %s\n", enable ? "enabled" : "disabled");
	k_mutex_unlock(&wdg_mutex);
}

/**
 * wdg_get_state — Query the current state of a monitored thread.
 *
 * @param slot  Slot index returned by wdg_register().
 * @return      Current wdg_thread_state, or WDG_STATE_IDLE on error.
 */
enum wdg_thread_state wdg_get_state(int slot)
{
	if (slot < 0 || slot >= WDG_MAX_THREADS) {
		return WDG_STATE_IDLE;
	}

	enum wdg_thread_state st;

	k_mutex_lock(&wdg_mutex, K_FOREVER);
	st = wdg_table[slot].state;
	k_mutex_unlock(&wdg_mutex);

	return st;
}

/**
 * wdg_get_state_name — Return a human-readable string for a state.
 */
const char *wdg_get_state_name(enum wdg_thread_state st)
{
	if (st >= ARRAY_SIZE(wdg_state_names)) {
		return "UNKNOWN";
	}
	return wdg_state_names[st];
}

/**
 * wdg_get_healthy_count — Return how many threads are currently healthy.
 */
int wdg_get_healthy_count(void)
{
	int count = 0;

	k_mutex_lock(&wdg_mutex, K_FOREVER);
	for (int i = 0; i < wdg_count; i++) {
		if (wdg_table[i].active &&
		    wdg_table[i].state == WDG_STATE_HEALTHY) {
			count++;
		}
	}
	k_mutex_unlock(&wdg_mutex);

	return count;
}

/**
 * wdg_dump_status — Print the full watchdog status table to the console.
 */
void wdg_dump_status(void)
{
	k_mutex_lock(&wdg_mutex, K_FOREVER);

	printk("\n=== Watchdog Status ===\n");
	printk("Global: %s | Checks: %u | Heartbeats: %u | "
	       "Timeouts: %u | Recoveries: %u\n",
	       wdg_enabled ? "ENABLED" : "DISABLED",
	       wdg_stats.checks_performed,
	       wdg_stats.total_heartbeats,
	       wdg_stats.total_timeouts,
	       wdg_stats.total_recoveries);
	printk("%-4s %-20s %-14s %-10s %-6s %-6s\n",
	       "Slot", "Name", "State", "Timeout",
	       "Beats", "Fails");
	printk("---- -------------------- -------------- "
	       "---------- ------ ------\n");

	for (int i = 0; i < wdg_count; i++) {
		const struct wdg_entry *e = &wdg_table[i];
		if (!e->active) {
			continue;
		}
		printk("%-4d %-20s %-14s %-10u %-6u %-6u\n",
		       i, e->name,
		       wdg_get_state_name(e->state),
		       e->timeout_ms,
		       e->heartbeat_count,
		       e->timeout_count);
	}

	printk("=======================\n\n");

	k_mutex_unlock(&wdg_mutex);
}

/* Default recovery handler used when no callback is provided */
static void wdg_default_recovery(const char *name, uint32_t elapsed_ms)
{
	printk("[WDG] DEFAULT RECOVERY for '%s' "
	       "(no heartbeat for %u ms)\n", name, elapsed_ms);
}

/* --------------------------------------------------------------------
 * Watchdog checker thread
 * ------------------------------------------------------------------ */

/**
 * The checker thread runs periodically to evaluate the health of every
 * registered thread.  For each thread it:
 *   1. Computes elapsed time since the last heartbeat.
 *   2. Transitions to WARNING if >75% of the timeout has elapsed.
 *   3. Transitions to UNRESPONSIVE if the full timeout has elapsed.
 *   4. Invokes the recovery callback on the first UNRESPONSIVE event.
 */
static void wdg_checker_fn(void *p1, void *p2, void *p3)
{
	ARG_UNUSED(p1);
	ARG_UNUSED(p2);
	ARG_UNUSED(p3);

	printk("[WDG] Watchdog checker thread started "
	       "(interval %d ms)\n", WDG_CHECK_INTERVAL_MS);

	while (1) {
		k_msleep(WDG_CHECK_INTERVAL_MS);

		k_mutex_lock(&wdg_mutex, K_FOREVER);

		if (!wdg_enabled) {
			k_mutex_unlock(&wdg_mutex);
			continue;
		}

		wdg_stats.checks_performed++;
		int64_t now = k_uptime_get();

		for (int i = 0; i < wdg_count; i++) {
			struct wdg_entry *e = &wdg_table[i];
			if (!e->active) {
				continue;
			}

			int64_t elapsed = now - e->last_heartbeat;

			if (elapsed > (int64_t)e->timeout_ms) {
				/* Full timeout reached */
				if (e->state != WDG_STATE_UNRESPONSIVE &&
				    e->state != WDG_STATE_RECOVERED) {
					e->state = WDG_STATE_UNRESPONSIVE;
					e->timeout_count++;
					wdg_stats.total_timeouts++;

					printk("[WDG] '%s' UNRESPONSIVE "
					       "(%lld ms elapsed)\n",
					       e->name, elapsed);

					wdg_recovery_cb_t cb = e->recovery_cb;
					const char *ename = e->name;
					uint32_t el = (uint32_t)elapsed;

					/* Release mutex before callback */
					k_mutex_unlock(&wdg_mutex);

					if (cb) {
						cb(ename, el);
					} else {
						wdg_default_recovery(ename,
								     el);
					}

					k_mutex_lock(&wdg_mutex, K_FOREVER);

					e->state = WDG_STATE_RECOVERED;
					e->recovery_count++;
					wdg_stats.total_recoveries++;
				}
			} else if (elapsed >
				   (int64_t)(e->timeout_ms * 3 / 4)) {
				/* 75% threshold → warning zone */
				if (e->state == WDG_STATE_HEALTHY) {
					e->state = WDG_STATE_WARNING;
					printk("[WDG] '%s' entering "
					       "WARNING zone\n", e->name);
				}
			}
		}

		k_mutex_unlock(&wdg_mutex);
	}
}

K_THREAD_DEFINE(wdg_checker_tid, WDG_STACK_SIZE,
		wdg_checker_fn, NULL, NULL, NULL,
		WDG_PRIORITY, 0, 0);
```
